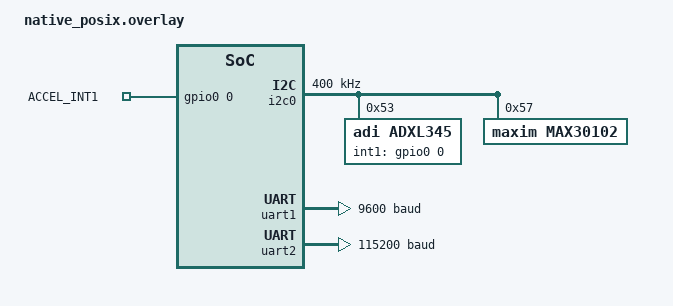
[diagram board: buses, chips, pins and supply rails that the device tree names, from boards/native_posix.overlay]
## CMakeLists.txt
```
# =============================================================================
# Vehicle Emergency Response System
# Zephyr RTOS CMakeLists.txt
# Compatible with: nrf52840dk, native_posix (simulation), qemu_cortex_m3
# =============================================================================

cmake_minimum_required(VERSION 3.20.0)

# Default board for development simulation
set(BOARD native_posix CACHE STRING "Target board")

find_package(Zephyr REQUIRED HINTS $ENV{ZEPHYR_BASE})

project(vehicle_emergency_response VERSION 1.0.0
        DESCRIPTION "Zephyr RTOS Vehicle Emergency Response System"
        LANGUAGES C)

# ---------------------------------------------------------------------------
# Source files
# ---------------------------------------------------------------------------
target_sources(app PRIVATE
  # Entry point
  src/main.c

  # Sensor drivers
  src/sensors/accel.c
  src/sensors/heartrate.c
  src/sensors/gps.c

  # Decision / state machine
  src/decision/engine.c

  # Communication layer
  src/comm/gsm.c

  # Cloud HTTP client
  src/cloud/http_client.c
)

# POSIX simulation sources (native_posix only)
if(CONFIG_BOARD_NATIVE_POSIX)
  target_sources(app PRIVATE src/sim/sensor_sim.c)
endif()

# ---------------------------------------------------------------------------
# Include paths
# ---------------------------------------------------------------------------
target_include_directories(app PRIVATE
  src/
  src/sensors/
  src/decision/
  src/comm/
  src/cloud/
  include/
)

# ---------------------------------------------------------------------------
# Compile definitions
# ---------------------------------------------------------------------------
target_compile_definitions(app PRIVATE
  CRASH_G_THRESHOLD=30      # 30g threshold for crash detection
  HR_MIN_BPM=40
  HR_MAX_BPM=180
  GPS_UART_BAUD=9600
  CLOUD_HOST="192.168.1.100"
  CLOUD_PORT=8000
  CLOUD_PATH="/api/event"
  EMERGENCY_SMS_NUMBER="+11234567890"
)

# ---------------------------------------------------------------------------
# Link libraries
# ---------------------------------------------------------------------------
target_link_libraries(app PRIVATE zephyr_interface)
```

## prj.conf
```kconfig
# =============================================================================
# Vehicle Emergency Response System — Zephyr Kconfig
# =============================================================================

# ── Kernel ────────────────────────────────────────────────────────────────────
CONFIG_MAIN_STACK_SIZE=4096
CONFIG_SYSTEM_WORKQUEUE_STACK_SIZE=2048
CONFIG_HEAP_MEM_POOL_SIZE=16384

# ── Multithreading ────────────────────────────────────────────────────────────
CONFIG_THREAD_NAME=y
CONFIG_THREAD_STACK_INFO=y
CONFIG_THREAD_MONITOR=y

# ── Logging ───────────────────────────────────────────────────────────────────
CONFIG_LOG=y
CONFIG_LOG_DEFAULT_LEVEL=3
CONFIG_LOG_BACKEND_UART=y
CONFIG_LOG_PRINTK=y
CONFIG_PRINTK=y

# ── Shell (debug CLI over UART) ───────────────────────────────────────────────
CONFIG_SHELL=y
CONFIG_SHELL_BACKEND_SERIAL=y
CONFIG_KERNEL_SHELL=y

# ── I2C (accelerometer + heart-rate sensor) ───────────────────────────────────
CONFIG_I2C=y
CONFIG_I2C_NRFX=y

# ── UART (GPS + GSM modem) ───────────────────────────────────────────────────
CONFIG_UART_INTERRUPT_DRIVEN=y
CONFIG_SERIAL=y

# ── GPIO (interrupt pin from ADXL345) ────────────────────────────────────────
CONFIG_GPIO=y

# ── Sensor subsystem ─────────────────────────────────────────────────────────
CONFIG_SENSOR=y
CONFIG_SENSOR_LOG_LEVEL_DBG=y

# ── Networking (native_posix simulation) ─────────────────────────────────────
CONFIG_NETWORKING=y
CONFIG_NET_IPV4=y
CONFIG_NET_TCP=y
CONFIG_NET_SOCKETS=y
CONFIG_NET_SOCKETS_POSIX_NAMES=y
CONFIG_NET_LOG=y

# ── HTTP Client ──────────────────────────────────────────────────────────────
CONFIG_HTTP_CLIENT=y
CONFIG_NET_HTTP=y

# ── JSON ─────────────────────────────────────────────────────────────────────
CONFIG_JSON_LIBRARY=y

# ── Zbus (message bus for inter-thread events) ────────────────────────────────
CONFIG_ZBUS=y
CONFIG_ZBUS_CHANNEL_NAME=y

# ── Assertions & debugging ────────────────────────────────────────────────────
CONFIG_ASSERT=y
CONFIG_DEBUG=y
CONFIG_SPEED_OPTIMIZATIONS=n
CONFIG_SIZE_OPTIMIZATIONS=n
```

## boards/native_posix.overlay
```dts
/*
 * Vehicle Emergency Response System
 * native_posix Device-Tree Overlay
 *
 * Provides I²C, UART, and GPIO nodes for simulation on a host Linux/macOS machine.
 * On real hardware (nrf52840dk) use boards/nrf52840dk_nrf52840.overlay instead.
 */

/ {
    chosen {
        zephyr,console = &uart0;
        zephyr,shell-uart = &uart0;
    };

    /* ─── Simulated GPIO interrupt from ADXL345 INT1 pin ─── */
    aliases {
        accel-int = &accel_int_pin;
    };

    gpio_keys {
        compatible = "gpio-keys";
        accel_int_pin: accel_int_pin {
            gpios = <&gpio0 0 (GPIO_ACTIVE_HIGH | GPIO_PULL_DOWN)>;
            label = "ACCEL_INT1";
        };
    };
};

/* ─── I²C bus 0: ADXL345 (0x53) + MAX30102 (0x57) ─── */
&i2c0 {
    status = "okay";
    clock-frequency = <I2C_BITRATE_FAST>;

    adxl345: adxl345@53 {
        compatible = "adi,adxl345";
        reg = <0x53>;
        label = "ADXL345";
        int1-gpios = <&gpio0 0 GPIO_ACTIVE_HIGH>;
    };

    max30102: max30102@57 {
        compatible = "maxim,max30102";
        reg = <0x57>;
        label = "MAX30102";
    };
};

/* ─── UART1: GPS module (PA1010D) ─── */
&uart1 {
    status = "okay";
    current-speed = <9600>;
    label = "GPS_UART";
};

/* ─── UART2: GSM modem (SIM800L) ─── */
&uart2 {
    status = "okay";
    current-speed = <115200>;
    label = "GSM_UART";
};
```

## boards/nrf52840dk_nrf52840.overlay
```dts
/*
 * Vehicle Emergency Response System
 * nRF52840-DK Device-Tree Overlay
 *
 * Hardware connections:
 *   ADXL345  → I²C0 (SDA=P0.26, SCL=P0.27), INT1 → P0.31
 *   MAX30102  → I²C0 (shared bus, addr 0x57)
 *   PA1010D   → UART1 (TX=P0.06, RX=P0.08), 9600 baud
 *   SIM800L   → UART2 (TX=P0.22, RX=P0.24), 115200 baud
 */

/ {
    aliases {
        accel-int = &accel_int_pin;
    };

    gpio_keys {
        compatible = "gpio-keys";
        accel_int_pin: accel_int_pin {
            gpios = <&gpio0 31 (GPIO_ACTIVE_HIGH | GPIO_PULL_DOWN)>;
            label = "ACCEL_INT1";
        };
    };
};

&i2c0 {
    status = "okay";
    sda-pin = <26>;
    scl-pin = <27>;
    clock-frequency = <I2C_BITRATE_FAST>;

    adxl345: adxl345@53 {
        compatible = "adi,adxl345";
        reg = <0x53>;
        label = "ADXL345";
        int1-gpios = <&gpio0 31 GPIO_ACTIVE_HIGH>;
    };

    max30102: max30102@57 {
        compatible = "maxim,max30102";
        reg = <0x57>;
        label = "MAX30102";
    };
};

&uart1 {
    status = "okay";
    current-speed = <9600>;
    tx-pin = <6>;
    rx-pin = <8>;
    label = "GPS_UART";
};

&uart2 {
    status = "okay";
    current-speed = <115200>;
    tx-pin = <22>;
    rx-pin = <24>;
    label = "GSM_UART";
};
```

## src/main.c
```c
/*
 * =============================================================================
 * Vehicle Emergency Response System
 * main.c — System Entry Point & Thread Orchestration
 *
 * Zephyr RTOS version: 3.x
 * Target boards: native_posix (simulation), nrf52840dk_nrf52840 (hardware)
 *
 * Thread architecture:
 *   sensor_thread    (P=5)  — 50 ms poll: accel, HR, GPS → zbus channels
 *   decision_thread  (P=4)  — 100 ms: reads channels, runs crash detection
 *   comm_thread      (P=6)  — blocks on emergency_chan, sends HTTP/SMS
 *
 * ISR: ADXL345 INT1 → accel interrupt callback → wakes decision_thread early
 * =============================================================================
 */

#include <zephyr/kernel.h>
#include <zephyr/logging/log.h>
#include <zephyr/device.h>
#include <zephyr/drivers/gpio.h>
#include <zephyr/sys/reboot.h>
#include <zephyr/zbus/zbus.h>
#include <string.h>
#include <stdio.h>

#include "vers_types.h"
#include "sensors/accel.h"
#include "sensors/heartrate.h"
#include "sensors/gps.h"
#include "decision/engine.h"
#include "comm/gsm.h"
#include "cloud/http_client.h"

#ifdef CONFIG_BOARD_NATIVE_POSIX
#include "sim/sensor_sim.h"
#endif

LOG_MODULE_REGISTER(main, LOG_LEVEL_INF);

/* ─────────────────────────────────────────────────────────────────────────── */
/*  Zbus channel definitions                                                   */
/* ─────────────────────────────────────────────────────────────────────────── */

ZBUS_CHAN_DEFINE(accel_chan,
    accel_sample_t,
    NULL,           /* validator */
    NULL,           /* user_data */
    ZBUS_OBSERVERS_EMPTY,
    ZBUS_MSG_INIT(.x_g = 0, .y_g = 0, .z_g = 0)
);

ZBUS_CHAN_DEFINE(hr_chan,
    hr_sample_t,
    NULL, NULL,
    ZBUS_OBSERVERS_EMPTY,
    ZBUS_MSG_INIT(.bpm = 0, .valid = false)
);

ZBUS_CHAN_DEFINE(gps_chan,
    gps_fix_t,
    NULL, NULL,
    ZBUS_OBSERVERS_EMPTY,
    ZBUS_MSG_INIT(.fix_valid = false)
);

ZBUS_CHAN_DEFINE(emergency_chan,
    emergency_event_t,
    NULL, NULL,
    ZBUS_OBSERVERS_EMPTY,
    ZBUS_MSG_INIT(.type = ALERT_CRASH)
);

/* ─────────────────────────────────────────────────────────────────────────── */
/*  Thread stacks                                                              */
/* ─────────────────────────────────────────────────────────────────────────── */

K_THREAD_STACK_DEFINE(sensor_stack,   SENSOR_STACK_SIZE);
K_THREAD_STACK_DEFINE(decision_stack, DECISION_STACK_SIZE);
K_THREAD_STACK_DEFINE(comm_stack,     COMM_STACK_SIZE);

static struct k_thread sensor_thread_data;
static struct k_thread decision_thread_data;
static struct k_thread comm_thread_data;

/* ─────────────────────────────────────────────────────────────────────────── */
/*  Thread semaphore: ISR can wake decision thread early                       */
/* ─────────────────────────────────────────────────────────────────────────── */

K_SEM_DEFINE(accel_isr_sem, 0, 1);

/* ─────────────────────────────────────────────────────────────────────────── */
/*  ADXL345 GPIO interrupt callback                                            */
/* ─────────────────────────────────────────────────────────────────────────── */

static const struct gpio_dt_spec accel_int =
    GPIO_DT_SPEC_GET(DT_ALIAS(accel_int), gpios);

static struct gpio_callback accel_gpio_cb;

static void accel_isr_handler(const struct device *dev,
                               struct gpio_callback *cb,
                               uint32_t pins)
{
    ARG_UNUSED(dev);
    ARG_UNUSED(cb);
    ARG_UNUSED(pins);
    /* Wake decision thread immediately on hardware interrupt */
    k_sem_give(&accel_isr_sem);
}

/* ─────────────────────────────────────────────────────────────────────────── */
/*  Thread A: Sensor Acquisition                                               */
/* ─────────────────────────────────────────────────────────────────────────── */

static void sensor_thread_fn(void *p1, void *p2, void *p3)
{
    ARG_UNUSED(p1); ARG_UNUSED(p2); ARG_UNUSED(p3);

    LOG_INF("[Sensor] Thread started — poll interval %d ms", SENSOR_POLL_MS);

    accel_sample_t  accel = {0};
    hr_sample_t     hr    = {0};
    gps_fix_t       gps   = {0};

    while (1) {
        /* ── Accelerometer ── */
        if (accel_read(&accel) == 0) {
            zbus_chan_pub(&accel_chan, &accel, K_NO_WAIT);
            LOG_DBG("[Sensor] Accel: X=%.2f Y=%.2f Z=%.2f |G|=%.2f",
                    (double)accel.x_g, (double)accel.y_g,
                    (double)accel.z_g, (double)accel.magnitude_g);
        } else {
            LOG_WRN("[Sensor] Accelerometer read failed");
        }

        /* ── Heart Rate ── */
        if (hr_read(&hr) == 0) {
            zbus_chan_pub(&hr_chan, &hr, K_NO_WAIT);
            LOG_DBG("[Sensor] HR: %d BPM, SpO2: %d%%", hr.bpm, hr.spo2);
        }

        /* ── GPS ── */
        if (gps_read(&gps) == 0) {
            zbus_chan_pub(&gps_chan, &gps, K_NO_WAIT);
            LOG_DBG("[Sensor] GPS: %.6f,%.6f spd=%.1f km/h sats=%d",
                    gps.latitude, gps.longitude,
                    (double)gps.speed_kmh, gps.satellites);
        }

        k_sleep(K_MSEC(SENSOR_POLL_MS));
    }
}

/* ─────────────────────────────────────────────────────────────────────────── */
/*  Thread B: Decision Engine                                                  */
/* ─────────────────────────────────────────────────────────────────────────── */

static void decision_thread_fn(void *p1, void *p2, void *p3)
{
    ARG_UNUSED(p1); ARG_UNUSED(p2); ARG_UNUSED(p3);

    LOG_INF("[Decision] Thread started — crash threshold %.0fg", (double)CRASH_G_THRESHOLD);

    engine_init();

    while (1) {
        /* Wait for periodic timeout OR hardware ISR wake */
        int sem_ret = k_sem_take(&accel_isr_sem, K_MSEC(DECISION_POLL_MS));
        if (sem_ret == 0) {
            LOG_DBG("[Decision] Woken by ADXL345 ISR");
        }

        /* Pull latest samples from zbus */
        accel_sample_t  accel = {0};
        hr_sample_t     hr    = {0};
        gps_fix_t       gps   = {0};

        zbus_chan_read(&accel_chan, &accel, K_NO_WAIT);
        zbus_chan_read(&hr_chan,    &hr,    K_NO_WAIT);
        zbus_chan_read(&gps_chan,   &gps,   K_NO_WAIT);

        /* Run the state machine */
        emergency_event_t event = {0};
        bool need_alert = engine_process(&accel, &hr, &gps, &event);

        if (need_alert) {
            LOG_WRN("[Decision] EMERGENCY detected — type=%d", event.type);
            zbus_chan_pub(&emergency_chan, &event, K_MSEC(100));
        }
    }
}

/* ─────────────────────────────────────────────────────────────────────────── */
/*  Thread C: Communication Manager                                            */
/* ─────────────────────────────────────────────────────────────────────────── */

static void comm_thread_fn(void *p1, void *p2, void *p3)
{
    ARG_UNUSED(p1); ARG_UNUSED(p2); ARG_UNUSED(p3);

    LOG_INF("[Comm] Thread started — awaiting emergency events");

    gsm_init();

    while (1) {
        emergency_event_t event = {0};

        /* Block indefinitely until an event arrives */
        int ret = zbus_chan_read(&emergency_chan, &event, K_FOREVER);
        if (ret != 0) {
            LOG_ERR("[Comm] zbus read error: %d", ret);
            continue;
        }

        LOG_INF("[Comm] Processing emergency event #%u type=%d",
                event.event_id, event.type);

        /* Try HTTP first, fall back to SMS */
        ret = http_post_emergency(&event);
        if (ret != 0) {
            LOG_WRN("[Comm] HTTP POST failed (%d), falling back to SMS", ret);
            ret = gsm_send_sms(EMERGENCY_SMS_NUMBER, &event);
            if (ret != 0) {
                LOG_ERR("[Comm] SMS also failed (%d) — event lost!", ret);
            }
        } else {
            LOG_INF("[Comm] Emergency event #%u sent via HTTP", event.event_id);
        }
    }
}

/* ─────────────────────────────────────────────────────────────────────────── */
/*  main()                                                                     */
/* ─────────────────────────────────────────────────────────────────────────── */

int main(void)
{
    LOG_INF("╔══════════════════════════════════════════════╗");
    LOG_INF("║  Vehicle Emergency Response System v1.0.0   ║");
    LOG_INF("║  Zephyr RTOS — Build: " __DATE__ " " __TIME__ "   ║");
    LOG_INF("╚══════════════════════════════════════════════╝");

#ifdef CONFIG_BOARD_NATIVE_POSIX
    LOG_INF("[Main] Running on native_posix — sensor simulation active");
    sensor_sim_start();
#endif

    /* ── Peripheral initialisation ── */
    int ret;

    ret = accel_init();
    if (ret) { LOG_ERR("[Main] Accelerometer init failed: %d", ret); }

    ret = hr_init();
    if (ret) { LOG_ERR("[Main] Heart-rate sensor init failed: %d", ret); }

    ret = gps_init();
    if (ret) { LOG_ERR("[Main] GPS init failed: %d", ret); }

    /* ── GPIO interrupt from ADXL345 ── */
    if (!gpio_is_ready_dt(&accel_int)) {
        LOG_WRN("[Main] ACCEL_INT GPIO not ready — ISR disabled");
    } else {
        gpio_pin_configure_dt(&accel_int, GPIO_INPUT);
        gpio_init_callback(&accel_gpio_cb, accel_isr_handler,
                           BIT(accel_int.pin));
        gpio_add_callback(accel_int.port, &accel_gpio_cb);
        gpio_pin_interrupt_configure_dt(&accel_int, GPIO_INT_EDGE_RISING);
        LOG_INF("[Main] ADXL345 INT1 ISR registered on pin %d", accel_int.pin);
    }

    /* ── Spawn threads ── */
    k_thread_create(&sensor_thread_data, sensor_stack,
                    K_THREAD_STACK_SIZEOF(sensor_stack),
                    sensor_thread_fn, NULL, NULL, NULL,
                    SENSOR_THREAD_PRIORITY, 0, K_NO_WAIT);
    k_thread_name_set(&sensor_thread_data, "sensor");

    k_thread_create(&decision_thread_data, decision_stack,
                    K_THREAD_STACK_SIZEOF(decision_stack),
                    decision_thread_fn, NULL, NULL, NULL,
                    DECISION_THREAD_PRIORITY, 0, K_NO_WAIT);
    k_thread_name_set(&decision_thread_data, "decision");

    k_thread_create(&comm_thread_data, comm_stack,
                    K_THREAD_STACK_SIZEOF(comm_stack),
                    comm_thread_fn, NULL, NULL, NULL,
                    COMM_THREAD_PRIORITY, 0, K_NO_WAIT);
    k_thread_name_set(&comm_thread_data, "comm");

    LOG_INF("[Main] All threads started — system operational");

    /* Main thread becomes idle supervisor */
    while (1) {
        k_sleep(K_SECONDS(5));
        sys_state_t state = engine_get_state();
        LOG_INF("[Main] Heartbeat — sys_state=%d", state);
    }

    return 0;
}
```

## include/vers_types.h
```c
/*
 * =============================================================================
 * Vehicle Emergency Response System
 * Shared Types & Definitions
 * =============================================================================
 */

#ifndef VERS_TYPES_H
#define VERS_TYPES_H

#include <stdint.h>
#include <stdbool.h>
#include <zephyr/kernel.h>

/* ─────────────────────────────────────────────────────────────────────────── */
/*  System State Machine                                                       */
/* ─────────────────────────────────────────────────────────────────────────── */

typedef enum {
    SYS_STATE_INIT        = 0,  /**< Power-on, peripheral init               */
    SYS_STATE_NORMAL      = 1,  /**< Normal operation — polling sensors       */
    SYS_STATE_CRASH_ALERT = 2,  /**< Crash detected — gathering location/HR  */
    SYS_STATE_EMERGENCY   = 3,  /**< Alert sent — waiting for acknowledgement */
    SYS_STATE_FAULT       = 4,  /**< Unrecoverable hardware fault             */
} sys_state_t;

/* ─────────────────────────────────────────────────────────────────────────── */
/*  Accelerometer Data                                                         */
/* ─────────────────────────────────────────────────────────────────────────── */

typedef struct {
    float x_g;          /**< X-axis acceleration (g)                         */
    float y_g;          /**< Y-axis acceleration (g)                         */
    float z_g;          /**< Z-axis acceleration (g)                         */
    float magnitude_g;  /**< √(x²+y²+z²) — scalar magnitude                 */
    int64_t timestamp;  /**< k_uptime_get() at sample time (ms)              */
} accel_sample_t;

/* ─────────────────────────────────────────────────────────────────────────── */
/*  Heart-Rate / SpO₂ Data                                                     */
/* ─────────────────────────────────────────────────────────────────────────── */

typedef struct {
    uint16_t bpm;       /**< Beats per minute                                */
    uint8_t  spo2;      /**< Blood oxygen saturation (%)                     */
    bool     valid;     /**< Sensor reports valid contact                     */
    int64_t  timestamp;
} hr_sample_t;

/* ─────────────────────────────────────────────────────────────────────────── */
/*  GPS Fix Data                                                               */
/* ─────────────────────────────────────────────────────────────────────────── */

typedef struct {
    double   latitude;  /**< Decimal degrees (+ North)                       */
    double   longitude; /**< Decimal degrees (+ East)                        */
    float    speed_kmh; /**< Ground speed km/h                               */
    float    altitude;  /**< Altitude above MSL (metres)                     */
    uint8_t  satellites;/**< Number of satellites in view                    */
    bool     fix_valid; /**< True when NMEA reports a valid fix               */
    char     utc_time[10]; /**< "HH:MM:SS"                                  */
    char     utc_date[8];  /**< "DD/MM/YY"                                  */
    int64_t  timestamp;
} gps_fix_t;

/* ─────────────────────────────────────────────────────────────────────────── */
/*  Emergency Event (payload sent to cloud)                                    */
/* ─────────────────────────────────────────────────────────────────────────── */

typedef enum {
    ALERT_CRASH          = 0,
    ALERT_HR_LOW         = 1,
    ALERT_HR_HIGH        = 2,
    ALERT_NO_GPS         = 3,
    ALERT_ROLLOVER       = 4,
    ALERT_MANUAL         = 5,  /**< Driver pressed SOS button               */
} alert_type_t;

typedef struct {
    alert_type_t type;
    accel_sample_t accel;
    hr_sample_t    hr;
    gps_fix_t      gps;
    uint32_t       event_id;  /**< Monotonic counter                        */
    char           device_id[24]; /**< Hardware UUID                        */
} emergency_event_t;

/* ─────────────────────────────────────────────────────────────────────────── */
/*  Zbus channels                                                              */
/* ─────────────────────────────────────────────────────────────────────────── */

#include <zephyr/zbus/zbus.h>

ZBUS_CHAN_DECLARE(accel_chan);
ZBUS_CHAN_DECLARE(hr_chan);
ZBUS_CHAN_DECLARE(gps_chan);
ZBUS_CHAN_DECLARE(emergency_chan);

/* ─────────────────────────────────────────────────────────────────────────── */
/*  Configuration constants (overridable via CMake -D flags)                   */
/* ─────────────────────────────────────────────────────────────────────────── */

#ifndef CRASH_G_THRESHOLD
#define CRASH_G_THRESHOLD   30.0f   /* g-force crash threshold               */
#endif

#ifndef HR_MIN_BPM
#define HR_MIN_BPM          40U     /* below → bradycardia alert             */
#endif

#ifndef HR_MAX_BPM
#define HR_MAX_BPM          180U    /* above → tachycardia alert             */
#endif

#define SENSOR_POLL_MS      50      /* Thread A period (ms)                  */
#define DECISION_POLL_MS    100     /* Thread B period (ms)                  */
#define ACCEL_SMA_WINDOW    8       /* Simple moving-average window samples  */
#define ROLLOVER_THRESHOLD  45.0f   /* Degrees tilt for rollover detection   */

/* Thread priorities */
#define SENSOR_THREAD_PRIORITY      5
#define DECISION_THREAD_PRIORITY    4
#define COMM_THREAD_PRIORITY        6

/* Stack sizes */
#define SENSOR_STACK_SIZE   2048
#define DECISION_STACK_SIZE 2048
#define COMM_STACK_SIZE     4096

#endif /* VERS_TYPES_H */
```
